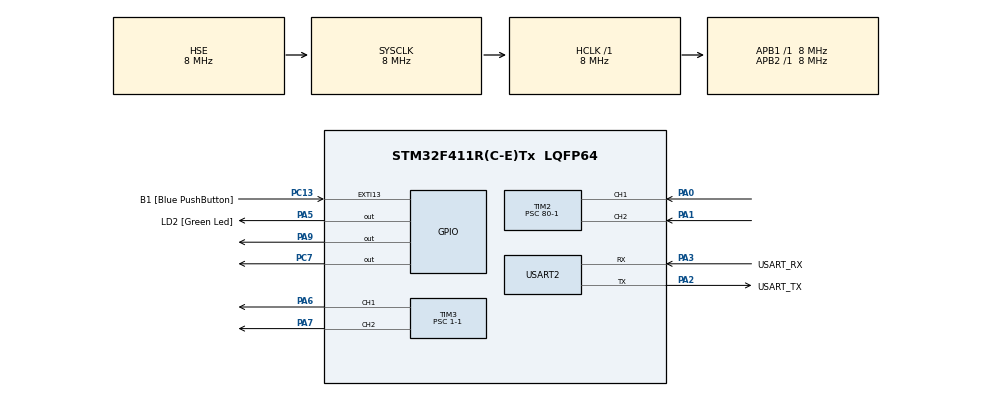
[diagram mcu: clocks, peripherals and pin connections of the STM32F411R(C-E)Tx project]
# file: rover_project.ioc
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Mcu.Family=STM32F4
Mcu.Name=STM32F411R(C-E)Tx
Mcu.Package=LQFP64
NVIC.PriorityGroup=NVIC_PRIORITYGROUP_0
NVIC.TIM2_IRQn=true\:0\:0\:false\:false\:true\:true\:true
NVIC.TIM4_IRQn=true\:0\:0\:false\:false\:true\:true\:true
PA0-WKUP.Signal=S_TIM2_CH1_ETR
PA1.Signal=S_TIM2_CH2
PA13.GPIO_Label=TMS
PA13.Mode=Serial_Wire
PA13.Signal=SYS_JTMS-SWDIO
PA14.GPIO_Label=TCK
PA14.Mode=Serial_Wire
PA14.Signal=SYS_JTCK-SWCLK
PA2.GPIO_Label=USART_TX
PA2.Mode=Asynchronous
PA2.Signal=USART2_TX
PA3.GPIO_Label=USART_RX
PA3.Mode=Asynchronous
PA3.Signal=USART2_RX
PA5.GPIO_Label=LD2 [Green Led]
PA5.Signal=GPIO_Output
PA6.Signal=S_TIM3_CH1
PA7.Signal=S_TIM3_CH2
PA9.Signal=GPIO_Output
PB3.GPIO_Label=SWO
PB3.Signal=SYS_JTDO-SWO
PC13-ANTI_TAMP.GPIO_Label=B1 [Blue PushButton]
PC13-ANTI_TAMP.GPIO_ModeDefaultEXTI=GPIO_MODE_IT_FALLING
PC13-ANTI_TAMP.Signal=GPXTI13
PC14-OSC32_IN.Mode=LSE-External-Oscillator
PC14-OSC32_IN.Signal=RCC_OSC32_IN
PC15-OSC32_OUT.Mode=LSE-External-Oscillator
PC15-OSC32_OUT.Signal=RCC_OSC32_OUT
PC7.Signal=GPIO_Output
PH0\ -\ OSC_IN.Mode=HSE-External-Clock-Source
PH0\ -\ OSC_IN.Signal=RCC_OSC_IN
PH1\ -\ OSC_OUT.Mode=HSE-External-Clock-Source
PH1\ -\ OSC_OUT.Signal=RCC_OSC_OUT
ProjectManager.HeapSize=0x200
ProjectManager.StackSize=0x400
ProjectManager.TargetToolchain=TrueSTUDIO
RCC.48MHZClocksFreq_Value=168000000
RCC.AHBFreq_Value=8000000
RCC.APB1Freq_Value=8000000
RCC.APB1TimFreq_Value=8000000
RCC.APB2Freq_Value=8000000
RCC.APB2TimFreq_Value=8000000
RCC.CortexFreq_Value=8000000
RCC.FLatency-AdvancedSettings=FLASH_LATENCY_0
RCC.HCLKFreq_Value=8000000
RCC.HSE_VALUE=8000000
RCC.HSI_VALUE=16000000
RCC.PLLM=4
RCC.PLLN=336
RCC.PLLP=RCC_PLLP_DIV4
RCC.PLLSourceVirtual=RCC_PLLSOURCE_HSE
RCC.SYSCLKFreq_VALUE=8000000
RCC.SYSCLKSource=RCC_SYSCLKSOURCE_HSE
RCC.VCOOutputFreq_Value=672000000
SH.S_TIM2_CH1_ETR.0=TIM2_CH1,Input_Capture1_from_TI1
SH.S_TIM2_CH2.0=TIM2_CH2,Input_Capture2_from_TI2
SH.S_TIM3_CH1.0=TIM3_CH1,PWM Generation1 CH1
SH.S_TIM3_CH2.0=TIM3_CH2,PWM Generation2 CH2
TIM2.Channel-Input_Capture1_from_TI1=TIM_CHANNEL_1
TIM2.Channel-Input_Capture2_from_TI2=TIM_CHANNEL_2
TIM2.Period=4294967295
TIM2.Prescaler=80-1
TIM3.Channel-PWM\ Generation1\ CH1=TIM_CHANNEL_1
TIM3.Channel-PWM\ Generation2\ CH2=TIM_CHANNEL_2
TIM3.Period=1-1
TIM3.Prescaler=1-1
TIM3.Pulse-PWM\ Generation1\ CH1=399
TIM3.Pulse-PWM\ Generation2\ CH2=399
TIM4.Channel-Output\ Compare1\ No\ Output=TIM_CHANNEL_1
TIM4.Period=50-1
TIM4.Prescaler=8000-1
USART2.VirtualMode=VM_ASYNC
VP_TIM4_VS_no_output1.Mode=Output Compare1 No Output
board=NUCLEO-F411RE

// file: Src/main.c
/* USER CODE BEGIN Header */
/**
  ******************************************************************************
  * @file           : main.c
  * @brief          : Main program body
  ******************************************************************************
  * @attention
  *
  * <h2><center>&copy; Copyright (c) 2019 STMicroelectronics.
  * All rights reserved.</center></h2>
  *
  * This software component is licensed by ST under BSD 3-Clause license,
  * the "License"; You may not use this file except in compliance with the
  * License. You may obtain a copy of the License at:
  *                        opensource.org/licenses/BSD-3-Clause
  *
  ******************************************************************************
  */
/* USER CODE END Header */

#include "main.h"

/* USER CODE BEGIN Includes */
#include <string.h>
#include <stdlib.h>
#include <stdio.h>
#include <math.h>
/* USER CODE END Includes */

/* USER CODE BEGIN PD */
#define WELCOME_MSG "Welcome to the Nucleo management console\r\n"
#define MAIN_MENU   "Select the option you are interested in:\r\n\t1. Set n_pulse\r\n\t2. Print n_pulse\r\n\t3. Clear screen and print this message "
#define PROMPT "\r\n> "
/* USER CODE END PD */

TIM_HandleTypeDef htim2;
TIM_HandleTypeDef htim3;
TIM_HandleTypeDef htim4;

UART_HandleTypeDef huart2;

/* USER CODE BEGIN PV */
const float L = 170.0; // in 170 mm
const float R = 40.0; // 40 mm
uint32_t input_capture_prev1 = 0;
uint32_t input_capture1 = 0;
uint16_t n_pulse1 = 0;

uint32_t input_capture_prev2 = 0;
uint32_t input_capture2=0;
uint16_t n_pulse2 = 0;

float wheel_dir1 = 1.0; // 1 means CW, -1 means CCW
float wheel_dir2 = 1.0;

int32_t error1 = 0;
int32_t integrated_error1 = 0;
int32_t error2 = 0;
int32_t integrated_error2 = 0;

uint16_t returned_pwm1 = 0;
uint16_t returned_pwm2 = 0;

uint8_t give_command = 0;

float desired_heading;
float u1,u2;
float error_heading;
float integrated_error_heading = 0;

uint8_t counting = 0;

struct rover_position
{
	float x;
	float y;
	float phi; // Radian

	float dx;
	float dy;
	float dphi;

	float s1;
	float s2;
	float s_mean;

	float trg_x;
	float trg_y;

	uint16_t trg_wheel_spd1;
	uint16_t trg_wheel_spd2;

	float angular_vel;
	float linear_vel;
};

struct rover_position my_rover = {0,0,1.57,0,0,0,0,0,0,0,0,0,0,0,0};

/* USER CODE END PV */

void SystemClock_Config(void);
static void MX_GPIO_Init(void);
static void MX_TIM3_Init(void);
static void MX_TIM4_Init(void);
static void MX_USART2_UART_Init(void);
static void MX_TIM2_Init(void);
/* USER CODE BEGIN PFP */
void printWelcomeMessage(void);
uint32_t processUserInput(uint32_t opt);
uint32_t readUserInput(void);
uint32_t pid_controller_wheels(uint32_t current_point, uint32_t desired_point, uint32_t wheel_id);
void calculate_new_speed(void);
void update_my_position(void);
float heading_pid_controller(float error_heading);
/* USER CODE END PFP */

int main(void)
{
  /* USER CODE BEGIN 1 */
	uint32_t opt;
  /* USER CODE END 1 */

  /* MCU Configuration--------------------------------------------------------*/

  /* Reset of all peripherals, Initializes the Flash interface and the Systick. */
  HAL_Init();

  /* Configure the system clock */
  SystemClock_Config();

  /* Initialize all configured peripherals */
  MX_GPIO_Init();
  MX_TIM3_Init();
  MX_TIM4_Init();
  MX_USART2_UART_Init();
  MX_TIM2_Init();
  /* USER CODE BEGIN 2 */
  HAL_TIM_IC_Start_IT(&htim2, TIM_CHANNEL_1);
  HAL_TIM_IC_Start_IT(&htim2, TIM_CHANNEL_2);

  HAL_TIM_PWM_Start(&htim3,TIM_CHANNEL_1);
  HAL_TIM_PWM_Start(&htim3,TIM_CHANNEL_2);

  HAL_TIM_OC_Start_IT(&htim4,TIM_CHANNEL_1);

  // Set motor to be 0 speed
  __HAL_TIM_SET_COMPARE(&htim3, TIM_CHANNEL_1, 500);
  __HAL_TIM_SET_COMPARE(&htim3, TIM_CHANNEL_2, 500);
  printMessage:

    	printWelcomeMessage();

    	while (1)  {
    		opt = readUserInput();
    		processUserInput(opt);

    		if(opt == 3)
    			goto printMessage;
    	}
  /* USER CODE END 2 */

  /* Infinite loop */
  while (1)
  {

  }
}

void SystemClock_Config(void)
{
  RCC_OscInitTypeDef RCC_OscInitStruct = {0};
  RCC_ClkInitTypeDef RCC_ClkInitStruct = {0};

  /** Configure the main internal regulator output voltage
  */
  __HAL_RCC_PWR_CLK_ENABLE();
  __HAL_PWR_VOLTAGESCALING_CONFIG(PWR_REGULATOR_VOLTAGE_SCALE1);
  /** Initializes the CPU, AHB and APB busses clocks
  */
  RCC_OscInitStruct.OscillatorType = RCC_OSCILLATORTYPE_HSE;
  RCC_OscInitStruct.HSEState = RCC_HSE_BYPASS;
  RCC_OscInitStruct.PLL.PLLState = RCC_PLL_NONE;
  if (HAL_RCC_OscConfig(&RCC_OscInitStruct) != HAL_OK)
  {
    Error_Handler();
  }
  /** Initializes the CPU, AHB and APB busses clocks
  */
  RCC_ClkInitStruct.ClockType = RCC_CLOCKTYPE_HCLK|RCC_CLOCKTYPE_SYSCLK
                              |RCC_CLOCKTYPE_PCLK1|RCC_CLOCKTYPE_PCLK2;
  RCC_ClkInitStruct.SYSCLKSource = RCC_SYSCLKSOURCE_HSE;
  RCC_ClkInitStruct.AHBCLKDivider = RCC_SYSCLK_DIV1;
  RCC_ClkInitStruct.APB1CLKDivider = RCC_HCLK_DIV1;
  RCC_ClkInitStruct.APB2CLKDivider = RCC_HCLK_DIV1;

  if (HAL_RCC_ClockConfig(&RCC_ClkInitStruct, FLASH_LATENCY_0) != HAL_OK)
  {
    Error_Handler();
  }
}

static void MX_TIM2_Init(void)
{

  /* USER CODE BEGIN TIM2_Init 0 */
	// TIMER2
		// Frequency 1 KHz
		//
  /* USER CODE END TIM2_Init 0 */

  TIM_MasterConfigTypeDef sMasterConfig = {0};
  TIM_IC_InitTypeDef sConfigIC = {0};

  htim2.Instance = TIM2;
  htim2.Init.Prescaler = 8000-1;
  htim2.Init.CounterMode = TIM_COUNTERMODE_UP;
  htim2.Init.Period = 4294967295;
  htim2.Init.ClockDivision = TIM_CLOCKDIVISION_DIV1;
  htim2.Init.AutoReloadPreload = TIM_AUTORELOAD_PRELOAD_DISABLE;
  if (HAL_TIM_IC_Init(&htim2) != HAL_OK)
  {
    Error_Handler();
  }
  sMasterConfig.MasterOutputTrigger = TIM_TRGO_RESET;
  sMasterConfig.MasterSlaveMode = TIM_MASTERSLAVEMODE_DISABLE;
  if (HAL_TIMEx_MasterConfigSynchronization(&htim2, &sMasterConfig) != HAL_OK)
  {
    Error_Handler();
  }
  sConfigIC.ICPolarity = TIM_INPUTCHANNELPOLARITY_RISING;
  sConfigIC.ICSelection = TIM_ICSELECTION_DIRECTTI;
  sConfigIC.ICPrescaler = TIM_ICPSC_DIV1;
  sConfigIC.ICFilter = 0;
  if (HAL_TIM_IC_ConfigChannel(&htim2, &sConfigIC, TIM_CHANNEL_1) != HAL_OK)
  {
    Error_Handler();
  }
  if (HAL_TIM_IC_ConfigChannel(&htim2, &sConfigIC, TIM_CHANNEL_2) != HAL_OK)
  {
    Error_Handler();
  }

}

static void MX_TIM3_Init(void)
{

  /* USER CODE BEGIN TIM3_Init 0 */
	// TIMER 3
		// Frequency: 25 kHz
		// Resolution of voltage output: 3.3/1000
  /* USER CODE END TIM3_Init 0 */

  TIM_MasterConfigTypeDef sMasterConfig = {0};
  TIM_OC_InitTypeDef sConfigOC = {0};

  htim3.Instance = TIM3;
  htim3.Init.Prescaler = 1-1;
  htim3.Init.CounterMode = TIM_COUNTERMODE_UP;
  htim3.Init.Period = 400-1;
  htim3.Init.ClockDivision = TIM_CLOCKDIVISION_DIV1;
  htim3.Init.AutoReloadPreload = TIM_AUTORELOAD_PRELOAD_DISABLE;
  if (HAL_TIM_PWM_Init(&htim3) != HAL_OK)
  {
    Error_Handler();
  }
  sMasterConfig.MasterOutputTrigger = TIM_TRGO_RESET;
  sMasterConfig.MasterSlaveMode = TIM_MASTERSLAVEMODE_DISABLE;
  if (HAL_TIMEx_MasterConfigSynchronization(&htim3, &sMasterConfig) != HAL_OK)
  {
    Error_Handler();
  }
  sConfigOC.OCMode = TIM_OCMODE_PWM1;
  sConfigOC.Pulse = 399;
  sConfigOC.OCPolarity = TIM_OCPOLARITY_HIGH;
  sConfigOC.OCFastMode = TIM_OCFAST_DISABLE;
  if (HAL_TIM_PWM_ConfigChannel(&htim3, &sConfigOC, TIM_CHANNEL_1) != HAL_OK)
  {
    Error_Handler();
  }
  if (HAL_TIM_PWM_ConfigChannel(&htim3, &sConfigOC, TIM_CHANNEL_2) != HAL_OK)
  {
    Error_Handler();
  }
  HAL_TIM_MspPostInit(&htim3);

}

static void MX_TIM4_Init(void)
{

  /* USER CODE BEGIN TIM4_Init 0 */
    // 10 Hz
  /* USER CODE END TIM4_Init 0 */

  TIM_MasterConfigTypeDef sMasterConfig = {0};
  TIM_OC_InitTypeDef sConfigOC = {0};

  htim4.Instance = TIM4;
  htim4.Init.Prescaler = 8000-1;
  htim4.Init.CounterMode = TIM_COUNTERMODE_UP;
  htim4.Init.Period = 50-1;
  htim4.Init.ClockDivision = TIM_CLOCKDIVISION_DIV1;
  htim4.Init.AutoReloadPreload = TIM_AUTORELOAD_PRELOAD_DISABLE;
  if (HAL_TIM_OC_Init(&htim4) != HAL_OK)
  {
    Error_Handler();
  }
  sMasterConfig.MasterOutputTrigger = TIM_TRGO_RESET;
  sMasterConfig.MasterSlaveMode = TIM_MASTERSLAVEMODE_DISABLE;
  if (HAL_TIMEx_MasterConfigSynchronization(&htim4, &sMasterConfig) != HAL_OK)
  {
    Error_Handler();
  }
  sConfigOC.OCMode = TIM_OCMODE_TIMING;
  sConfigOC.Pulse = 0;
  sConfigOC.OCPolarity = TIM_OCPOLARITY_HIGH;
  sConfigOC.OCFastMode = TIM_OCFAST_DISABLE;
  if (HAL_TIM_OC_ConfigChannel(&htim4, &sConfigOC, TIM_CHANNEL_1) != HAL_OK)
  {
    Error_Handler();
  }

}

static void MX_USART2_UART_Init(void)
{

  huart2.Instance = USART2;
  huart2.Init.BaudRate = 115200;
  huart2.Init.WordLength = UART_WORDLENGTH_8B;
  huart2.Init.StopBits = UART_STOPBITS_1;
  huart2.Init.Parity = UART_PARITY_NONE;
  huart2.Init.Mode = UART_MODE_TX_RX;
  huart2.Init.HwFlowCtl = UART_HWCONTROL_NONE;
  huart2.Init.OverSampling = UART_OVERSAMPLING_16;
  if (HAL_UART_Init(&huart2) != HAL_OK)
  {
    Error_Handler();
  }

}

static void MX_GPIO_Init(void)
{
  GPIO_InitTypeDef GPIO_InitStruct = {0};

  /* GPIO Ports Clock Enable */
  __HAL_RCC_GPIOC_CLK_ENABLE();
  __HAL_RCC_GPIOH_CLK_ENABLE();
  __HAL_RCC_GPIOA_CLK_ENABLE();
  __HAL_RCC_GPIOB_CLK_ENABLE();

  /*Configure GPIO pin Output Level */
  HAL_GPIO_WritePin(GPIOA, LD2_Pin|GPIO_PIN_9, GPIO_PIN_RESET);

  /*Configure GPIO pin Output Level */
  HAL_GPIO_WritePin(GPIOC, GPIO_PIN_7, GPIO_PIN_RESET);

  /*Configure GPIO pin : B1_Pin */
  GPIO_InitStruct.Pin = B1_Pin;
  GPIO_InitStruct.Mode = GPIO_MODE_IT_FALLING;
  GPIO_InitStruct.Pull = GPIO_NOPULL;
  HAL_GPIO_Init(B1_GPIO_Port, &GPIO_InitStruct);

  /*Configure GPIO pins : LD2_Pin PA9 */
  GPIO_InitStruct.Pin = LD2_Pin|GPIO_PIN_9;
  GPIO_InitStruct.Mode = GPIO_MODE_OUTPUT_PP;
  GPIO_InitStruct.Pull = GPIO_NOPULL;
  GPIO_InitStruct.Speed = GPIO_SPEED_FREQ_LOW;
  HAL_GPIO_Init(GPIOA, &GPIO_InitStruct);

  /*Configure GPIO pin : PC7 */
  GPIO_InitStruct.Pin = GPIO_PIN_7;
  GPIO_InitStruct.Mode = GPIO_MODE_OUTPUT_PP;
  GPIO_InitStruct.Pull = GPIO_NOPULL;
  GPIO_InitStruct.Speed = GPIO_SPEED_FREQ_LOW;
  HAL_GPIO_Init(GPIOC, &GPIO_InitStruct);

}

/* USER CODE BEGIN 4 */
void HAL_TIM_IC_CaptureCallback(TIM_HandleTypeDef *htim)
{
//	uint32_t pw_array_length = PW_ARRAY_LENGTH;
	if ((htim->Instance == TIM2) && (htim->Channel == HAL_TIM_ACTIVE_CHANNEL_1)) // measure the speed of wheel 1
	{
		input_capture1++;
	}

	else if ((htim->Instance == TIM2) && (htim->Channel == HAL_TIM_ACTIVE_CHANNEL_2)) // measure the speed of wheel 2
	{
		input_capture2++;
	}
}

void HAL_TIM_OC_DelayElapsedCallback(TIM_HandleTypeDef *htim)
{
	if ((htim->Instance == TIM4) && (htim->Channel == HAL_TIM_ACTIVE_CHANNEL_1) && give_command == 1)
	{
		printf("------------ New state ------------\n");
		HAL_GPIO_TogglePin(GPIOA, LD2_Pin);
		counting++;

		n_pulse1 = input_capture1 - input_capture_prev1;
		input_capture_prev1 = input_capture1;

		n_pulse2 = input_capture2 - input_capture_prev2;
		input_capture_prev2 = input_capture2;

		 update_my_position();
		 if (counting == 10)	{
			 counting = 0;
			 calculate_new_speed();
		 }

		returned_pwm1 = pid_controller_wheels(n_pulse1, my_rover.trg_wheel_spd1, 1);
		returned_pwm2 = pid_controller_wheels(n_pulse2, my_rover.trg_wheel_spd2, 2);

		if (wheel_dir1 == 1) // Pin C7
		{
			HAL_GPIO_WritePin(GPIOC, GPIO_PIN_7, RESET);
		}
		else
		{
			HAL_GPIO_WritePin(GPIOC, GPIO_PIN_7, SET);
		}
		__HAL_TIM_SET_COMPARE(&htim3, TIM_CHANNEL_1, returned_pwm1);

		if (wheel_dir2 == 1) // Pin A9
		{
			HAL_GPIO_WritePin(GPIOA, GPIO_PIN_9, SET);
		}
		else
		{
			HAL_GPIO_WritePin(GPIOA, GPIO_PIN_9, RESET);
		}
		__HAL_TIM_SET_COMPARE(&htim3, TIM_CHANNEL_2, returned_pwm2);
	}
	else if ((htim->Instance == TIM4) && (htim->Channel == HAL_TIM_ACTIVE_CHANNEL_1) && give_command == 1)
	{
		n_pulse1 = 0;
		n_pulse2 = 0;
	}
}

void printWelcomeMessage(void) {
	HAL_UART_Transmit(&huart2, (uint8_t*)"\033[0;0H", strlen("\033[0;0H"), HAL_MAX_DELAY);
	HAL_UART_Transmit(&huart2, (uint8_t*)"\033[2J", strlen("\033[2J"), HAL_MAX_DELAY);
	HAL_UART_Transmit(&huart2, (uint8_t*)WELCOME_MSG, strlen(WELCOME_MSG), HAL_MAX_DELAY);
	HAL_UART_Transmit(&huart2, (uint8_t*)MAIN_MENU, strlen(MAIN_MENU), HAL_MAX_DELAY);
}

uint32_t readUserInput(void) {
	char readBuf[1];

	HAL_UART_Transmit(&huart2, (uint8_t*)PROMPT, strlen(PROMPT), HAL_MAX_DELAY);
	HAL_UART_Receive(&huart2, (uint8_t*)readBuf, 1, HAL_MAX_DELAY);
	return atoi(readBuf);
}

uint32_t processUserInput(uint32_t opt) {
	char msg0[100] = "\r\nYour desired speed is: ";
	char msg1[100];
	char msg2[100];
	char msg3[100];
	char msg4[100];
	char msg5[100];
	char msg6[100];
	char msg7[100];
	char msg8[100];
	char msg9[100];
	char msg10[100];
	char msg11[100];
	char msg12[100];
	char msg13[100];
	char readN_PULSE[3];

	if(!opt || opt > 3)
		return 0;

	sprintf(msg1, "%ld", opt);
	HAL_UART_Transmit(&huart2, (uint8_t*)msg1, strlen(msg1), HAL_MAX_DELAY);

	switch(opt) {
	case 1: // Set n_pulse

		HAL_UART_Transmit(&huart2, (uint8_t*)msg0, strlen(msg0), HAL_MAX_DELAY);
		HAL_UART_Receive(&huart2, (uint8_t*)readN_PULSE, 3, HAL_MAX_DELAY);
		HAL_UART_Transmit(&huart2, (uint8_t*)readN_PULSE, 3, HAL_MAX_DELAY);

		my_rover.trg_x = (float) atoi(readN_PULSE);
		my_rover.trg_y = (float) atoi(readN_PULSE);

		give_command = 1;
		break;

	case 2: // Print out speed
		sprintf(msg1, "\r\n X: %d", (int) (my_rover.x));
		sprintf(msg2, "\r\n Y: %d", (int) (my_rover.y));
		sprintf(msg3, "\r\n Phi (in degree): %d", (int) (my_rover.phi/3.14*180.0));
		sprintf(msg4, "\r\n n_pulse1: %d", n_pulse1);
		sprintf(msg5, "\r\n n_pulse2: %d", n_pulse2);
		sprintf(msg6, "\r\n my_rover.trg_wheel_spd1: %d", my_rover.trg_wheel_spd1);
		sprintf(msg7, "\r\n my_rover.trg_wheel_spd2: %d", my_rover.trg_wheel_spd2);
		sprintf(msg8, "\r\n PWM 1: %u", returned_pwm1);
		sprintf(msg9, "\r\n PWM 2: %u", returned_pwm2);
		sprintf(msg10, "\r\n angular_vel in degree/s: %d", (int) (my_rover.angular_vel/3.1415*180.0));
		sprintf(msg11, "\r\n linear_vel in mm/s: %d", (int) (my_rover.linear_vel));
		sprintf(msg12, "\r\n Desired heading: %d, Error heading: %d", (int) (desired_heading/3.1415*180), (int) (error_heading/3.1415*180));
		sprintf(msg13, "\r\n u1: %d, u2: %d", (int) (u1), (int) (u2));

		HAL_UART_Transmit(&huart2, (uint8_t*)msg1, strlen(msg1), HAL_MAX_DELAY);
		HAL_UART_Transmit(&huart2, (uint8_t*)msg2, strlen(msg2), HAL_MAX_DELAY);
		HAL_UART_Transmit(&huart2, (uint8_t*)msg3, strlen(msg3), HAL_MAX_DELAY);
		HAL_UART_Transmit(&huart2, (uint8_t*)msg4, strlen(msg4), HAL_MAX_DELAY);
		HAL_UART_Transmit(&huart2, (uint8_t*)msg5, strlen(msg5), HAL_MAX_DELAY);
		HAL_UART_Transmit(&huart2, (uint8_t*)msg6, strlen(msg6), HAL_MAX_DELAY);
		HAL_UART_Transmit(&huart2, (uint8_t*)msg7, strlen(msg7), HAL_MAX_DELAY);
		HAL_UART_Transmit(&huart2, (uint8_t*)msg8, strlen(msg8), HAL_MAX_DELAY);
		HAL_UART_Transmit(&huart2, (uint8_t*)msg9, strlen(msg9), HAL_MAX_DELAY);
		HAL_UART_Transmit(&huart2, (uint8_t*)msg10, strlen(msg10), HAL_MAX_DELAY);
		HAL_UART_Transmit(&huart2, (uint8_t*)msg11, strlen(msg11), HAL_MAX_DELAY);
		HAL_UART_Transmit(&huart2, (uint8_t*)msg12, strlen(msg12), HAL_MAX_DELAY);
		HAL_UART_Transmit(&huart2, (uint8_t*)msg13, strlen(msg13), HAL_MAX_DELAY);

		break;

	case 3:
		return 2;
	};

	return 1;
}

uint32_t pid_controller_wheels(uint32_t current_point, uint32_t desired_point, uint32_t wheel_id)
{
	int32_t Kp = -17;
	int32_t Ki = -4;

	int32_t output_pwm = 0;
	int32_t return_pwm = 0;

	if (wheel_id == 1)
	{
		error1 = desired_point - current_point;
		output_pwm = (Kp*error1) + (Ki*integrated_error1);

		if ((abs(integrated_error1)<200) || ((error1*integrated_error1)<=0)) // anti winding
		{
			integrated_error1 += error1;
		}

	}
	else if (wheel_id == 2)
	{
		error2 = desired_point - current_point;
		output_pwm = (Kp*error2) + (Ki*integrated_error2);

		if ((abs(integrated_error2)<200) || ((error2*integrated_error2)<=0)) // anti winding
		{
			integrated_error2 += error2;
		}
	}

	if (output_pwm < 50)
	{
		return_pwm = 50;
	}
	else if (output_pwm > 400)
	{
		return_pwm = 400;
	}
	else
	{
		return_pwm = output_pwm;
	}

	return return_pwm;
}

void update_my_position(void)
{
  float dx,dy;

  dx = my_rover.trg_x - my_rover.x;
  dy = my_rover.trg_y - my_rover.y;

  if ((abs(dx)<10) && (abs(dy)<10))
  {
    my_rover.trg_wheel_spd1 = 0;
    my_rover.trg_wheel_spd2 = 0;
    my_rover.linear_vel = 0.0;
    my_rover.angular_vel = 0.0;
    return;
  }

	my_rover.s1 = (float) wheel_dir1*((n_pulse1/270.0)*3.1415*2*R);
	my_rover.s2 = (float) wheel_dir2*((n_pulse2/270.0)*3.1415*2*R);

	my_rover.s_mean = (float) (my_rover.s1+my_rover.s2)/2.0;

	my_rover.dx = (float) my_rover.s_mean*cos(my_rover.phi); // in mm
	my_rover.dy = (float) my_rover.s_mean*sin(my_rover.phi); // in mm
	my_rover.dphi = (float) (my_rover.s2-my_rover.s1)/(2*L); // in rad

	my_rover.x = my_rover.x + my_rover.dx;
	my_rover.y = my_rover.y + my_rover.dy;
	my_rover.phi = my_rover.phi + my_rover.dphi;

	my_rover.phi = atan2(sin(my_rover.phi),cos(my_rover.phi)); // map phi between [-pi,pi]

  if ((abs(dx)<10) && (abs(dy)<10))
  {
    my_rover.trg_wheel_spd1 = 0;
    my_rover.trg_wheel_spd2 = 0;
    my_rover.linear_vel = 0.0;
    my_rover.angular_vel = 0.0;
    return;
  }

	printf("# Update position\n");
  printf("n_pulse1: %d\n", n_pulse1);
  printf("n_pulse2: %d\n", n_pulse2);
	printf("s1: %d\n", (int) (my_rover.s1*100));
	printf("s2: %d\n", (int) (my_rover.s2*100));
	printf("s_mean: %d\n", (int) (my_rover.s_mean*100));

  printf("my_rover.phi: %d\n", (int) (my_rover.phi*100));

	printf("dx: %d\n", (int) (my_rover.dx*100));
	printf("dy: %d\n", (int) (my_rover.dy*100));
	printf("dphi: %d\n", (int) (my_rover.dphi*100));
}

float heading_pid_controller(float error_heading)
{
	float kp = 0.5;
	float ki = 0;

	if (integrated_error_heading < 0.52 || integrated_error_heading*error_heading < 0)
	{
		integrated_error_heading += error_heading;
	}

	return kp*error_heading + ki*integrated_error_heading;

}

void calculate_new_speed(void)
{
	float dx,dy;

	float k;
	float error_distance;

	float left_wheel_cmd, right_wheel_cmd;
	float faster_speed;

	// Calculate error vector
	dx = my_rover.trg_x - my_rover.x;
	dy = my_rover.trg_y - my_rover.y;

	error_distance = sqrt(dx*dx+dy*dy);

	if ((abs(dx)<10) && (abs(dy)<10))
	{
		my_rover.trg_wheel_spd1 = 0;
		my_rover.trg_wheel_spd2 = 0;
		my_rover.linear_vel = 0.0;
		my_rover.angular_vel = 0.0;
		return;
	}
	else
	{
		// Calculate control vector u
		k = atan(error_distance)/1.57*150.0;
		u1 = k*dx/error_distance;
		u2 = k*dy/error_distance;
	}

	my_rover.linear_vel = sqrt(u1*u1 + u2*u2);

	desired_heading = atan2(u2,u1);
	error_heading = atan2(sin(desired_heading - my_rover.phi),cos(desired_heading - my_rover.phi));

	my_rover.angular_vel = heading_pid_controller(error_heading);

	left_wheel_cmd = (2*my_rover.linear_vel - my_rover.angular_vel*L)/(2*R); // in rad/s
	right_wheel_cmd = (2*my_rover.linear_vel + my_rover.angular_vel*L)/(2*R);

	if ((abs(left_wheel_cmd) > 14) || (abs(right_wheel_cmd) > 14))
	{
		faster_speed = abs(left_wheel_cmd);
		if (abs(right_wheel_cmd) > faster_speed)
		{
			faster_speed = abs(right_wheel_cmd);
		}

		left_wheel_cmd = left_wheel_cmd/faster_speed*11.635;
		right_wheel_cmd = right_wheel_cmd/faster_speed*11.635;

	}

	if (left_wheel_cmd > 0)
	{
		wheel_dir1 = 1.0;
	}
	else
	{
		wheel_dir1 = -1.0;
	}

	if (right_wheel_cmd > 0)
	{
		wheel_dir2 = 1.0;
	}
	else
	{
		wheel_dir2 = -1.0;
	}

	// Calculate the wheel speed
	my_rover.trg_wheel_spd1 = (uint16_t) abs(left_wheel_cmd*270/(3.1415*2))*0.05; // n_pulse
	my_rover.trg_wheel_spd2 = (uint16_t) abs(right_wheel_cmd*270/(3.1415*2))*0.05;

	printf("# Calculate new speed \n");
	printf("Linear velocity: %d\n", (int) (my_rover.linear_vel*100));
	printf("Angular velocity: %d\n", (int) (my_rover.angular_vel*100));
	printf("Left cmd: %d\n", (int) (left_wheel_cmd*100));
	printf("Right cmd: %d\n", (int) (right_wheel_cmd*100));
	printf("Target n_pulse1: %d\n", (int) (my_rover.trg_wheel_spd1));
	printf("Target n_pulse2 %d\n", (int) (my_rover.trg_wheel_spd2));

}

/* USER CODE END 4 */

void Error_Handler(void)
{
}

/************************ (C) COPYRIGHT STMicroelectronics *****END OF FILE****/
